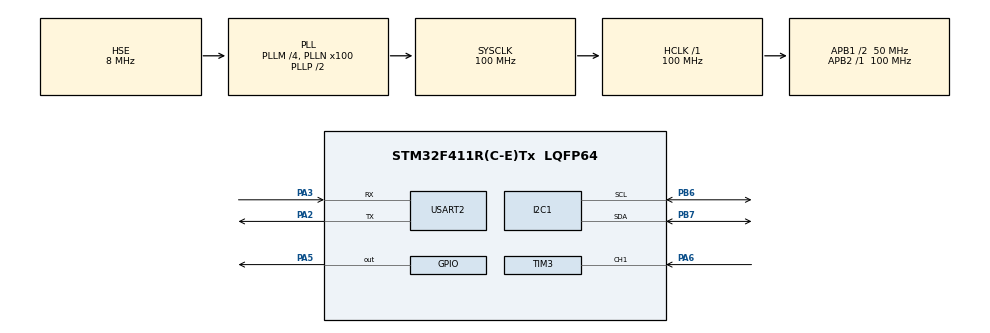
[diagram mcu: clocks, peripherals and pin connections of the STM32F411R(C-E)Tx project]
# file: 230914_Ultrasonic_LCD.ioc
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Mcu.Family=STM32F4
Mcu.Name=STM32F411R(C-E)Tx
Mcu.Package=LQFP64
NVIC.PriorityGroup=NVIC_PRIORITYGROUP_4
NVIC.TIM3_IRQn=true\:0\:0\:false\:false\:true\:true\:true\:true
NVIC.USART2_IRQn=true\:0\:0\:false\:false\:true\:true\:true\:true
PA13.Mode=Serial_Wire
PA13.Signal=SYS_JTMS-SWDIO
PA14.Mode=Serial_Wire
PA14.Signal=SYS_JTCK-SWCLK
PA2.Mode=Asynchronous
PA2.Signal=USART2_TX
PA3.Mode=Asynchronous
PA3.Signal=USART2_RX
PA5.Signal=GPIO_Output
PA6.Signal=S_TIM3_CH1
PB6.Mode=I2C
PB6.Signal=I2C1_SCL
PB7.Mode=I2C
PB7.Signal=I2C1_SDA
PH0\ -\ OSC_IN.Mode=HSE-External-Oscillator
PH0\ -\ OSC_IN.Signal=RCC_OSC_IN
PH1\ -\ OSC_OUT.Mode=HSE-External-Oscillator
PH1\ -\ OSC_OUT.Signal=RCC_OSC_OUT
ProjectManager.HeapSize=0x200
ProjectManager.StackSize=0x400
ProjectManager.TargetToolchain=STM32CubeIDE
RCC.48MHZClocksFreq_Value=50000000
RCC.AHBFreq_Value=100000000
RCC.APB1CLKDivider=RCC_HCLK_DIV2
RCC.APB1Freq_Value=50000000
RCC.APB1TimFreq_Value=100000000
RCC.APB2Freq_Value=100000000
RCC.APB2TimFreq_Value=100000000
RCC.CortexFreq_Value=100000000
RCC.HCLKFreq_Value=100000000
RCC.HSE_VALUE=8000000
RCC.HSI_VALUE=16000000
RCC.LSE_VALUE=32768
RCC.PLLM=4
RCC.PLLN=100
RCC.PLLSourceVirtual=RCC_PLLSOURCE_HSE
RCC.SYSCLKFreq_VALUE=100000000
RCC.SYSCLKSource=RCC_SYSCLKSOURCE_PLLCLK
RCC.VCOOutputFreq_Value=200000000
SH.S_TIM3_CH1.0=TIM3_CH1,Input_Capture1_from_TI1
TIM3.Channel-Input_Capture1_from_TI1=TIM_CHANNEL_1
TIM3.Prescaler=100-1
USART2.VirtualMode=VM_ASYNC
VP_TIM3_VS_ClockSourceINT.Mode=Internal
board=custom

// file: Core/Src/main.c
/* USER CODE BEGIN Header */
/**
  ******************************************************************************
  * @file           : main.c
  * @brief          : Main program body
  ******************************************************************************
  * @attention
  *
  * Copyright (c) 2023 STMicroelectronics.
  * All rights reserved.
  *
  * This software is licensed under terms that can be found in the LICENSE file
  * in the root directory of this software component.
  * If no LICENSE file comes with this software, it is provided AS-IS.
  *
  ******************************************************************************
  */
/* USER CODE END Header */
#include "main.h"
#include "i2c.h"
#include "tim.h"
#include "usart.h"
#include "gpio.h"

/* USER CODE BEGIN Includes */

#include "stdio.h"
#include "delay.h"
#include "I2C_LCD.h"

/* USER CODE END Includes */

/* USER CODE BEGIN PTD */
#define TRIG_PORT   GPIOA
#define TRIG_PIN    GPIO_PIN_5

/* USER CODE END PTD */

/* USER CODE BEGIN PV */
uint32_t INC_Value1 = 0;
uint32_t INC_Value2 = 0;
uint32_t echoTime   = 0;
uint8_t captureflag = 0;
uint8_t distance    = 0;

int row = 0;
int col = 0;

/* USER CODE END PV */

void SystemClock_Config(void);

/* USER CODE BEGIN 0 */
void HAL_TIM_IC_CaptureCallback(TIM_HandleTypeDef *htim)
{
  if(htim->Channel == HAL_TIM_ACTIVE_CHANNEL_1){
    if(captureflag == 0){
      INC_Value1 = HAL_TIM_ReadCapturedValue(htim, TIM_CHANNEL_1);
      captureflag = 1;

      __HAL_TIM_SET_CAPTUREPOLARITY(htim, TIM_CHANNEL_1, TIM_INPUTCHANNELPOLARITY_FALLING);
    }
    else if(captureflag == 1){
      INC_Value2 = HAL_TIM_ReadCapturedValue(htim, TIM_CHANNEL_1);
      __HAL_TIM_SET_COUNTER(htim,0);

      if(INC_Value2 >= INC_Value1){
        echoTime = INC_Value2-INC_Value1;
      }
      else if(INC_Value2 <= INC_Value1){
        echoTime = (0xffff - INC_Value1) + INC_Value2;
      }

      //distance = echoTime*0.034/2;  // cm
      distance = echoTime/58;    // cm

      captureflag = 0;

      __HAL_TIM_SET_CAPTUREPOLARITY(htim, TIM_CHANNEL_1, TIM_INPUTCHANNELPOLARITY_RISING);
      __HAL_TIM_DISABLE_IT(&htim3, TIM_IT_CC1);
    }

  }
}

void HCSR04_read(void)
{
  HAL_GPIO_WritePin(TRIG_PORT, TRIG_PIN, GPIO_PIN_SET);
  delay_us(10);
  HAL_GPIO_WritePin(TRIG_PORT, TRIG_PIN, GPIO_PIN_RESET);

  __HAL_TIM_ENABLE_IT(&htim3, TIM_IT_CC1);
}

/* USER CODE END 0 */

int main(void)
{

  /* MCU Configuration--------------------------------------------------------*/

  /* Reset of all peripherals, Initializes the Flash interface and the Systick. */
  HAL_Init();

  /* Configure the system clock */
  SystemClock_Config();

  /* Initialize all configured peripherals */
  MX_GPIO_Init();
  MX_TIM3_Init();
  MX_USART2_UART_Init();
  MX_I2C1_Init();
  /* USER CODE BEGIN 2 */

  uint16_t buff[30];

  HAL_TIM_IC_Start_IT(&htim3, TIM_CHANNEL_1);

  lcd_init();
  lcd_put_cur(0, 2);
  lcd_send_string("Hello World!");
  lcd_put_cur(1, 2);
  lcd_send_string("Welcome I2C");
  HAL_Delay(2000);

  /* USER CODE END 2 */

  /* Infinite loop */
  while (1)
  {

    /* USER CODE BEGIN 3 */
    HCSR04_read();

    lcd_clear();
    sprintf(buff,"distance: %dcm", distance);
    lcd_put_cur(0, 0);
    lcd_send_string(buff);
    HAL_Delay(100);
  }
  /* USER CODE END 3 */
}

void SystemClock_Config(void)
{
  RCC_OscInitTypeDef RCC_OscInitStruct = {0};
  RCC_ClkInitTypeDef RCC_ClkInitStruct = {0};

  /** Configure the main internal regulator output voltage
  */
  __HAL_RCC_PWR_CLK_ENABLE();
  __HAL_PWR_VOLTAGESCALING_CONFIG(PWR_REGULATOR_VOLTAGE_SCALE1);

  /** Initializes the RCC Oscillators according to the specified parameters
  * in the RCC_OscInitTypeDef structure.
  */
  RCC_OscInitStruct.OscillatorType = RCC_OSCILLATORTYPE_HSE;
  RCC_OscInitStruct.HSEState = RCC_HSE_ON;
  RCC_OscInitStruct.PLL.PLLState = RCC_PLL_ON;
  RCC_OscInitStruct.PLL.PLLSource = RCC_PLLSOURCE_HSE;
  RCC_OscInitStruct.PLL.PLLM = 4;
  RCC_OscInitStruct.PLL.PLLN = 100;
  RCC_OscInitStruct.PLL.PLLP = RCC_PLLP_DIV2;
  RCC_OscInitStruct.PLL.PLLQ = 4;
  if (HAL_RCC_OscConfig(&RCC_OscInitStruct) != HAL_OK)
  {
    Error_Handler();
  }

  /** Initializes the CPU, AHB and APB buses clocks
  */
  RCC_ClkInitStruct.ClockType = RCC_CLOCKTYPE_HCLK|RCC_CLOCKTYPE_SYSCLK
                              |RCC_CLOCKTYPE_PCLK1|RCC_CLOCKTYPE_PCLK2;
  RCC_ClkInitStruct.SYSCLKSource = RCC_SYSCLKSOURCE_PLLCLK;
  RCC_ClkInitStruct.AHBCLKDivider = RCC_SYSCLK_DIV1;
  RCC_ClkInitStruct.APB1CLKDivider = RCC_HCLK_DIV2;
  RCC_ClkInitStruct.APB2CLKDivider = RCC_HCLK_DIV1;

  if (HAL_RCC_ClockConfig(&RCC_ClkInitStruct, FLASH_LATENCY_3) != HAL_OK)
  {
    Error_Handler();
  }
}

void Error_Handler(void)
{
  __disable_irq();
  while (1)
  {
  }
}
